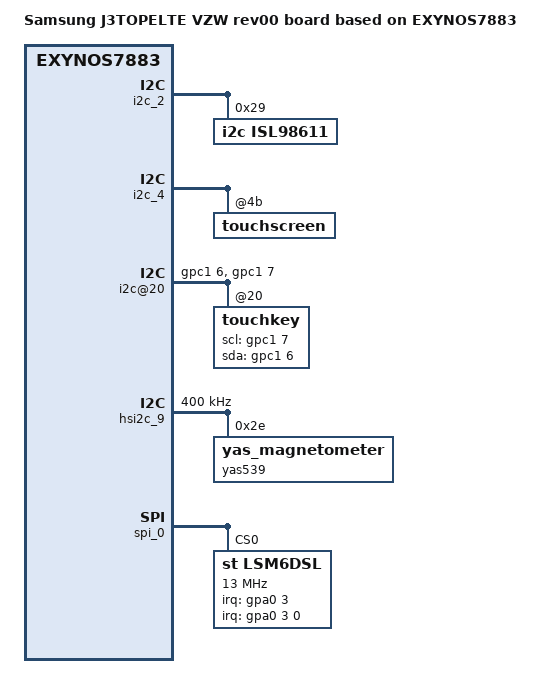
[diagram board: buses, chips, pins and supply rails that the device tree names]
/*
 * SAMSUNG UNIVERSAL7885 board device tree source
 *
 * Copyright (c) 2013 Samsung Electronics Co., Ltd.
 *		http://www.samsung.com
 *
 * This program is free software; you can redistribute it and/or modify
 * it under the terms of the GNU General Public License version 2 as
 * published by the Free Software Foundation.
*/

/dts-v1/;
#include "exynos7883-j3topelte_common.dtsi"
#include "exynos7883-j3topelte_usa_gpio_00.dtsi"
//#include "exynos7883-j3topelte_svcled.dtsi"

/ {
	model = "Samsung J3TOPELTE VZW rev00 board based on EXYNOS7883";
	model_info-chip = <7885>;
	model_info-platform = "android";
	model_info-subtype = "samsung";
	model_info-hw_rev = <0>;
	model_info-hw_rev_end = <0>;
	compatible = "samsung, J3TOPELTE VZW rev00", "samsung,Universal7883";

	i2c_2: i2c@13850000 {
		status = "okay";
		samsung,i2c-max-bus-freq = <400000>;
		isl98611@29 {
			compatible = "i2c,isl98611";
			reg = <0x29>;
		};
	};

	i2c_4:i2c@13870000 {
		touchscreen@4b {
			synaptics,project_name = "J3pop","J337";
			synaptics,firmware_name = "tsp_synaptics/td4100_j3poplte.fw";
			synaptics,firmware_name_bl = "tsp_synaptics/td4100_j3poplte_recovery.fw";
		};
	};

	i2c@20 {
		gpios = <&gpc1 6 0
				&gpc1 7 0>;
		touchkey@20 {
			coreriver,scl-gpio = <&gpc1 7 0>;
			coreriver,sda-gpio = <&gpc1 6 0>;
			coreriver,fw_name = "coreriver/tc350k_j3top.fw";
		};
	};

	pinctrl@139B0000 {
		cfg_i2c: cfg-i2c {
			samsung,pins = "gpc1-7", "gpc1-6";
			samsung,pin-function = <2>;
			samsung,pin-pud = <0>;
			samsung,pin-drv = <0>;
		};
		cfg_gpio: cfg-gpio {
			samsung,pins = "gpc1-7", "gpc1-6";
			samsung,pin-function = <0>;
			samsung,pin-pud = <0>;
			samsung,pin-drv = <0>;
		};
	};

	decon_board_list: decon_board_list {
		dsim_set_panel_power_early {
			type = "gpio,high", "delay,usleep";
			gpios = <&gpg2 6 0x1>;
			delay = <10000 11000>;
		};
		dsim_set_panel_power_enable {
			type = "gpio,high", "delay,usleep", "gpio,high", "delay,usleep", "gpio,high", "delay,usleep";
			gpios = <&gpg2 7 0x1>, <&gpg1 5 0x1>, <&gpg1 6 0x1>; // DDI -> BL_EN -> ENP -> ENN
			delay = <1000 2000>, <1000 2000>, <10000 11000>;
		};
		dsim_set_panel_power_disable {
			type = "delay,usleep", "gpio,low", "delay,usleep", "gpio,low", "delay,usleep", "gpio,low", "delay,usleep", "gpio,low", "delay,usleep", "gpio,low";
			gpios = <&gpg1 6 0x1>, <&gpg1 5 0x1>, <&gpg1 7 0x1>, <&gpg2 7 0x1>, <&gpg2 6 0x1>; // ENN -> ENP -> RESET -> BL_EN -> DDI
			delay = <5000 6000>, <5000 6000>, <15000 16000>, <5000 6000>, <10000 11000>;
		};
		dsim_reset_panel {
			type = "gpio,high", "delay,usleep", "gpio,low", "delay,usleep", "gpio,high",  "delay,msleep";
			gpios = <&gpg1 7 0x1>, <&gpg1 7 0x1>, <&gpg1 7 0x1>;
			delay = <1000 1100>, <1000 1100>, <130>;
		};
	};

	dsim_0: dsim@0x14870000 {
		lcd_info = <&td4100_old>;
	};

	hsi2c_9: hsi2c@13990000 {
		status = "okay";
		#address-cells = <1>;
		#size-cells = <0>;
		clock-frequency = <400000>;
		pinctrl-names = "default";
		pinctrl-0 = <&sensor_en &hs_i2c9_bus>;

		yas539@2e {
			compatible = "yas_magnetometer";
			reg = <0x2e>;
			yas,orientation = <6>;
			yas,softiron = <10000 0 0 0 10000 0 0 0 10000>;
			yas,softiron_sign = <2 0 0 0 2 0 0 0 2>;
		};
	};
	
	spi_0: spi@13900000 {
		status = "okay";
		pinctrl-names = "default";
		pinctrl-0 = <&spi0_bus_acc>;

		lsm6dsl@0 {
			compatible = "st,lsm6dsl";
			reg = <0>;
			spi-max-frequency = <13000000>;
			gpio-controller;
			#gpio-cells = <2>;
			pinctrl-names = "default";
			pinctrl-0 = <&acc_int>;
			interrupt-parent = <&gpa0>;
			interrupts = <3 0 0>;
			st,irq_gpio = <&gpa0 3 0>;
			st,orientation = <1 0 1 0 1 1 1 1 0>;
			controller-data {
				samsung,spi-feedback-delay = <0>;
				samsung,spi-chip-select-mode = <0>;
			};
		};
	};
};

